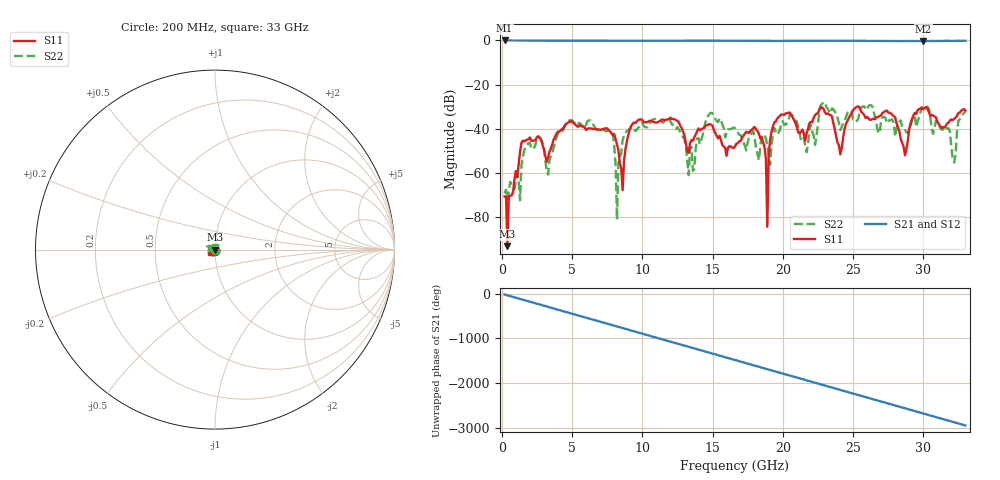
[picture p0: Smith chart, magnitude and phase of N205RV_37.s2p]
# GHZ S RI R 50
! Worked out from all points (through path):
!   329 points, 200 MHz to 33 GHz, reference 50 ohm
!   highest |S21| = -0.02 dB at 200 MHz (marker M1); lowest = -0.3 dB at 30 GHz (marker M2)
!   group delay of S21, straight-line fit = 248 ps
!   lowest |S11| = -93.3 dB at 400 MHz (marker M3), VSWR 1.00, Z = 50 + j0.00131 ohm
!   |S11| at or under -10 dB: start of sweep to end of sweep
!   |S22| runs from -81.3 to -27.9 dB; largest |S21 - S12| = 0.0019
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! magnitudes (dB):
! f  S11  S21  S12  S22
! 200 MHz  -70.8  0.0  0.0  -69.3
! 400 MHz  -93.3  0.0  0.0  -72.0
! 1.5 GHz  -45.4  -0.1  -0.1  -52.8
! 5.7 GHz  -39.0  -0.1  -0.1  -38.6
! 7.9 GHz  -42.9  -0.1  -0.1  -42.5
! 8.2 GHz  -47.2  -0.1  -0.1  -81.3
! 8.7 GHz  -55.0  -0.1  -0.1  -43.2
! 11.2 GHz  -36.7  -0.2  -0.2  -36.1
! 13.3 GHz  -51.0  -0.1  -0.1  -61.1
! 14.8 GHz  -37.9  -0.1  -0.1  -33.2
! 16.6 GHz  -48.1  -0.2  -0.2  -39.7
! 18.5 GHz  -43.9  -0.2  -0.2  -42.9
! 18.8 GHz  -53.8  -0.2  -0.2  -44.5
! 18.9 GHz  -84.6  -0.2  -0.2  -47.8
! 19 GHz  -52.2  -0.2  -0.2  -52.4
! 19.4 GHz  -37.1  -0.2  -0.2  -39.7
! 22.1 GHz  -37.1  -0.2  -0.2  -41.4
! 27.6 GHz  -32.9  -0.3  -0.3  -36.1
! 28.7 GHz  -52.1  -0.3  -0.3  -40.6
! 30 GHz  -31.2  -0.3  -0.3  -31.5
! 32.2 GHz  -35.6  -0.2  -0.2  -55.4
! 33 GHz  -31.9  -0.2  -0.2  -32.3
